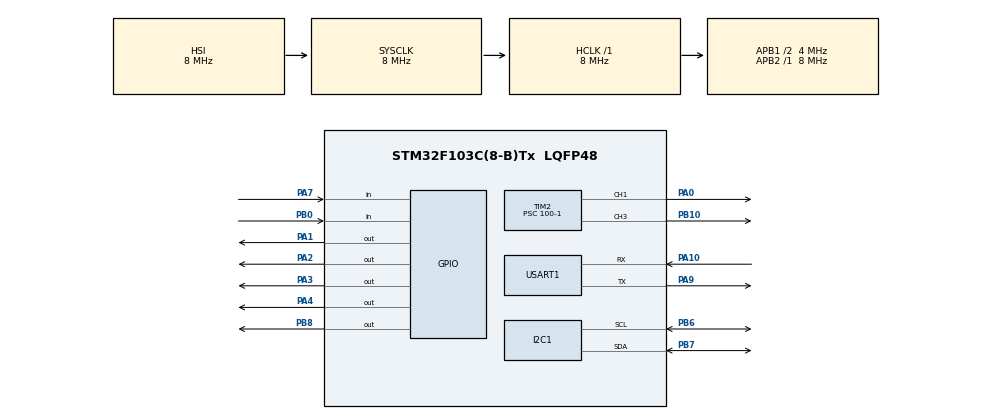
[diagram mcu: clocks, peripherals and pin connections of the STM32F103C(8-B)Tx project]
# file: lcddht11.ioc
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I2C1.I2C_Mode=I2C_Standard
I2C1.NoStretchMode=I2C_NOSTRETCH_DISABLE
Mcu.Family=STM32F1
Mcu.Name=STM32F103C(8-B)Tx
Mcu.Package=LQFP48
NVIC.PriorityGroup=NVIC_PRIORITYGROUP_4
NVIC.TIM3_IRQn=true\:0\:0\:false\:false\:true\:true\:true
NVIC.USART1_IRQn=true\:0\:0\:false\:false\:true\:true\:true
PA0-WKUP.Signal=S_TIM2_CH1_ETR
PA1.Signal=GPIO_Output
PA10.Mode=Asynchronous
PA10.Signal=USART1_RX
PA13.Mode=Serial_Wire
PA13.Signal=SYS_JTMS-SWDIO
PA14.Mode=Serial_Wire
PA14.Signal=SYS_JTCK-SWCLK
PA2.Signal=GPIO_Output
PA3.Signal=GPIO_Output
PA4.Signal=GPIO_Output
PA7.Signal=GPIO_Input
PA9.Mode=Asynchronous
PA9.Signal=USART1_TX
PB0.GPIO_PuPd=GPIO_PULLDOWN
PB0.Signal=GPIO_Input
PB10.Signal=S_TIM2_CH3
PB6.Mode=I2C
PB6.Signal=I2C1_SCL
PB7.Mode=I2C
PB7.Signal=I2C1_SDA
PB8.Signal=GPIO_Output
ProjectManager.HeapSize=0x200
ProjectManager.StackSize=0x400
ProjectManager.TargetToolchain=MDK-ARM V5
RCC.AHBFreq_Value=8000000
RCC.APB1CLKDivider=RCC_HCLK_DIV2
RCC.APB1Freq_Value=4000000
RCC.APB1TimFreq_Value=8000000
RCC.APB2Freq_Value=8000000
RCC.APB2TimFreq_Value=8000000
RCC.HCLKFreq_Value=8000000
RCC.PLLMUL=RCC_PLL_MUL9
RCC.SYSCLKFreq_VALUE=8000000
RCC.USBFreq_Value=36000000
SH.S_TIM2_CH1_ETR.0=TIM2_CH1,PWM Generation1 CH1
SH.S_TIM2_CH3.0=TIM2_CH3,PWM Generation3 CH3
TIM2.Channel-PWM\ Generation1\ CH1=TIM_CHANNEL_1
TIM2.Channel-PWM\ Generation3\ CH3=TIM_CHANNEL_3
TIM2.Period=1600-1
TIM2.Prescaler=100-1
TIM3.Period=999
TIM3.Prescaler=8000
USART1.VirtualMode=VM_ASYNC
VP_TIM3_VS_ClockSourceINT.Mode=Internal
board=custom

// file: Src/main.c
/* USER CODE BEGIN Header */
/**
  ******************************************************************************
  * @file           : main.c
  * @brief          : Main program body
  ******************************************************************************
  * @attention
  *
  * <h2><center>&copy; Copyright (c) 2019 STMicroelectronics.
  * All rights reserved.</center></h2>
  *
  * This software component is licensed by ST under BSD 3-Clause license,
  * the "License"; You may not use this file except in compliance with the
  * License. You may obtain a copy of the License at:
  *                        opensource.org/licenses/BSD-3-Clause
  *
  ******************************************************************************
  */
/* USER CODE END Header */
//PB6-SDA PB7-SCL
//led PK PB8
//led SAN PA4
//led PN PA1 , PT PA2
//DHT PA7

#include "main.h"

/* USER CODE BEGIN Includes */
#include "i2c-lcd.h"
#include "dwt_stm32_delay.h"
#include<string.h>
/* USER CODE END Includes */

I2C_HandleTypeDef hi2c1;

TIM_HandleTypeDef htim2;
TIM_HandleTypeDef htim3;

UART_HandleTypeDef huart1;

/* USER CODE BEGIN PV */
/* Private variables ---------------------------------------------------------*/
uint8_t s=0;;
uint8_t p=20;
uint8_t h=18;
char Rx_Data[2];
/* USER CODE END PV */

void SystemClock_Config(void);
static void MX_GPIO_Init(void);
static void MX_I2C1_Init(void);
static void MX_TIM3_Init(void);
static void MX_TIM2_Init(void);
static void MX_USART1_UART_Init(void);
/* USER CODE BEGIN PFP */
/* Private function prototypes -----------------------------------------------*/

/* USER CODE END PFP */

/* USER CODE BEGIN 0 */
uint8_t Rh_byte1, Rh_byte2, Temp_byte1, Temp_byte2;
uint16_t sum, RH, TEMP;

uint8_t check ;
GPIO_InitTypeDef GPIO_InitStruct;
void set_gpio_output (void)
{
	/*Configure GPIO pin output: PA2 */
  GPIO_InitStruct.Pin = GPIO_PIN_7;
  GPIO_InitStruct.Mode = GPIO_MODE_OUTPUT_PP;
  GPIO_InitStruct.Speed = GPIO_SPEED_FREQ_LOW;
  HAL_GPIO_Init(GPIOA, &GPIO_InitStruct);
}

void set_gpio_input (void)
{
	/*Configure GPIO pin input: PA2 */
  GPIO_InitStruct.Pin = GPIO_PIN_7;
  GPIO_InitStruct.Mode = GPIO_MODE_INPUT;
  GPIO_InitStruct.Pull = GPIO_NOPULL;
  HAL_GPIO_Init(GPIOA, &GPIO_InitStruct);
}

void DHT11_start (void)
{
	set_gpio_output ();  // set the pin as output
	HAL_GPIO_WritePin (GPIOA, GPIO_PIN_7, GPIO_PIN_RESET);   // pull the pin low
	DWT_Delay_us(18000);   // wait for 18ms
	set_gpio_input ();   // set as input
}

void check_response(void)
{
	DWT_Delay_us(40);
	if(!(HAL_GPIO_ReadPin(GPIOA, GPIO_PIN_7)))
	{
		DWT_Delay_us(80);
		if((HAL_GPIO_ReadPin(GPIOA, GPIO_PIN_7))) check = 1;
	}
	while((HAL_GPIO_ReadPin(GPIOA, GPIO_PIN_7)));   // wait for the pin to go low
}

uint8_t read_data (void)
{
	uint8_t i,j;
	for (j=0;j<8;j++)
	{
		while (!(HAL_GPIO_ReadPin (GPIOA, GPIO_PIN_7)));   // wait for the pin to go high
		DWT_Delay_us (40);   // wait for 40 us
		if ((HAL_GPIO_ReadPin (GPIOA, GPIO_PIN_7)) == 0)   // if the pin is low
		{
			i&= ~(1<<(7-j));   // write 0
		}
		else i|= (1<<(7-j));  // if the pin is high, write 1
		while ((HAL_GPIO_ReadPin (GPIOA, GPIO_PIN_7)));  // wait for the pin to go low
	}
	return i;
}
/* USER CODE END 0 */

void HAL_TIM_PeriodElapsedCallback(TIM_HandleTypeDef *htim)
{
	if(htim->Instance==TIM3)
	{

		if(HAL_GPIO_ReadPin(GPIOB,GPIO_PIN_0)==1)
		{
			HAL_GPIO_WritePin(GPIOB,GPIO_PIN_8,GPIO_PIN_SET);
		}
		else
		{
			HAL_GPIO_WritePin(GPIOB,GPIO_PIN_8,GPIO_PIN_RESET);
		}

		s++;
		if(s>60)
		{
			s=0;
			p++;
			if(p>60)
			{
				p=0;
				h++;
				if(h>24)
				{
					h=0;
				}
			}
		}
		if(h==18)
		{
			HAL_GPIO_WritePin(GPIOA,GPIO_PIN_4,GPIO_PIN_SET);
		}
		if(h==5)
		{
			HAL_GPIO_WritePin(GPIOA,GPIO_PIN_4,GPIO_PIN_RESET);
			}

	}

}
uint8_t Rx_index =0;
char Rx_Buffer[10];
void HAL_UART_RxCpltCallback(UART_HandleTypeDef *huart)
{

	uint8_t i;
	if(huart->Instance == USART1)
	{
		if(Rx_index==0){
		for(i=0;i<10;i++) Rx_Buffer[i]=0;}
		if(Rx_Data[0] !=13)
		{
			Rx_Buffer[Rx_index++]=Rx_Data[0];
		}
		else
		{
			if(strstr(Rx_Buffer,"NG0"))
			{
				HAL_GPIO_WritePin(GPIOA,GPIO_PIN_3,GPIO_PIN_SET);
				HAL_UART_Transmit(&huart1,(uint8_t *)Rx_Buffer,3,1000);

			}
			else
			if(strstr(Rx_Buffer,"NG1"))
			{
				HAL_GPIO_WritePin(GPIOA,GPIO_PIN_3,GPIO_PIN_RESET);
				HAL_UART_Transmit(&huart1,(uint8_t *)Rx_Buffer,3,1000);

			}else
			if(strstr(Rx_Buffer,"TA0"))
			{
				HAL_GPIO_WritePin(GPIOA,GPIO_PIN_1,GPIO_PIN_SET);
				HAL_UART_Transmit(&huart1,(uint8_t *)Rx_Buffer,3,1000);

			}else
			if(strstr(Rx_Buffer,"TA1"))
			{
				HAL_GPIO_WritePin(GPIOA,GPIO_PIN_1,GPIO_PIN_RESET);
				HAL_UART_Transmit(&huart1,(uint8_t *)Rx_Buffer,3,1000);

			}else
			if(strstr(Rx_Buffer,"SV0"))
			{

				htim2.Instance->CCR1 = 125;
				for(int sx=0;sx<10000;sx++)
				{
					for(int sy=0;sy<150;sy++);
					}
				htim2.Instance->CCR1 = 0;

				HAL_UART_Transmit(&huart1,(uint8_t *)Rx_Buffer,3,1000);

			}else
			if(strstr(Rx_Buffer,"SV1"))
			{

				htim2.Instance->CCR1 = 50;
				for(int sx=0;sx<10000;sx++)
				{
					for(int sy=0;sy<150;sy++);
					}
				htim2.Instance->CCR1 = 0;

				HAL_UART_Transmit(&huart1,(uint8_t *)Rx_Buffer,3,1000);

			}
			else
			if(strstr(Rx_Buffer,"DR0"))
			{

				htim2.Instance->CCR3 = 150;
				for(int sx=0;sx<10000;sx++)
				{
					for(int sy=0;sy<50;sy++);
					}
				htim2.Instance->CCR3 = 0;

				HAL_UART_Transmit(&huart1,(uint8_t *)Rx_Buffer,3,1000);

			}else
			if(strstr(Rx_Buffer,"DR1"))
			{

				htim2.Instance->CCR3 = 75;
				for(int sx=0;sx<10000;sx++)
				{
					for(int sy=0;sy<55;sy++);
					}
				htim2.Instance->CCR3 = 0;

				HAL_UART_Transmit(&huart1,(uint8_t *)Rx_Buffer,3,1000);

			}

			Rx_index=0;

		}
			HAL_UART_Receive_IT(&huart1,(uint8_t *)Rx_Data,1);

	}
}
int main(void)
{

  /* MCU Configuration--------------------------------------------------------*/

  /* Reset of all peripherals, Initializes the Flash interface and the Systick. */
  HAL_Init();

  /* Configure the system clock */
  SystemClock_Config();

  /* Initialize all configured peripherals */
  MX_GPIO_Init();
  MX_I2C1_Init();
  MX_TIM3_Init();
  MX_TIM2_Init();
  MX_USART1_UART_Init();
	HAL_UART_Receive_IT(&huart1,(uint8_t *)Rx_Data,1);
  /* USER CODE BEGIN 2 */
	HAL_TIM_PWM_Start(&htim2,TIM_CHANNEL_1);
	HAL_TIM_PWM_Start(&htim2,TIM_CHANNEL_3);
	DWT_Init();
	lcd_init();
	HAL_TIM_Base_Start_IT(&htim3);

  /* USER CODE END 2 */

  /* Infinite loop */
  while (1)
  {

		DHT11_start ();
		check_response ();
		Rh_byte1 = read_data ();
		Rh_byte2 = read_data ();
		Temp_byte1 = read_data ();
		Temp_byte2 = read_data ();
		sum = read_data();
		if (sum == (Rh_byte1+Rh_byte2+Temp_byte1+Temp_byte2))    // if the data is correct
		{
		lcd_send_cmd (0x80);
		lcd_send_string ("LKHANH99 ");

		lcd_send_cmd (0xC0);
		lcd_send_string ("TEMP: ");
		lcd_send_data ((Temp_byte1/10)+48);
		lcd_send_data ((Temp_byte1%10)+48);
		lcd_send_string (" oC");

		}
  }
}

void SystemClock_Config(void)
{
  RCC_OscInitTypeDef RCC_OscInitStruct = {0};
  RCC_ClkInitTypeDef RCC_ClkInitStruct = {0};

  /** Initializes the CPU, AHB and APB busses clocks
  */
  RCC_OscInitStruct.OscillatorType = RCC_OSCILLATORTYPE_HSI;
  RCC_OscInitStruct.HSIState = RCC_HSI_ON;
  RCC_OscInitStruct.HSICalibrationValue = RCC_HSICALIBRATION_DEFAULT;
  RCC_OscInitStruct.PLL.PLLState = RCC_PLL_NONE;
  if (HAL_RCC_OscConfig(&RCC_OscInitStruct) != HAL_OK)
  {
    Error_Handler();
  }
  /** Initializes the CPU, AHB and APB busses clocks
  */
  RCC_ClkInitStruct.ClockType = RCC_CLOCKTYPE_HCLK|RCC_CLOCKTYPE_SYSCLK
                              |RCC_CLOCKTYPE_PCLK1|RCC_CLOCKTYPE_PCLK2;
  RCC_ClkInitStruct.SYSCLKSource = RCC_SYSCLKSOURCE_HSI;
  RCC_ClkInitStruct.AHBCLKDivider = RCC_SYSCLK_DIV1;
  RCC_ClkInitStruct.APB1CLKDivider = RCC_HCLK_DIV2;
  RCC_ClkInitStruct.APB2CLKDivider = RCC_HCLK_DIV1;

  if (HAL_RCC_ClockConfig(&RCC_ClkInitStruct, FLASH_LATENCY_0) != HAL_OK)
  {
    Error_Handler();
  }
}

static void MX_I2C1_Init(void)
{

  hi2c1.Instance = I2C1;
  hi2c1.Init.ClockSpeed = 100000;
  hi2c1.Init.DutyCycle = I2C_DUTYCYCLE_2;
  hi2c1.Init.OwnAddress1 = 0;
  hi2c1.Init.AddressingMode = I2C_ADDRESSINGMODE_7BIT;
  hi2c1.Init.DualAddressMode = I2C_DUALADDRESS_DISABLE;
  hi2c1.Init.OwnAddress2 = 0;
  hi2c1.Init.GeneralCallMode = I2C_GENERALCALL_DISABLE;
  hi2c1.Init.NoStretchMode = I2C_NOSTRETCH_DISABLE;
  if (HAL_I2C_Init(&hi2c1) != HAL_OK)
  {
    Error_Handler();
  }

}

static void MX_TIM2_Init(void)
{

  TIM_MasterConfigTypeDef sMasterConfig = {0};
  TIM_OC_InitTypeDef sConfigOC = {0};

  htim2.Instance = TIM2;
  htim2.Init.Prescaler = 100-1;
  htim2.Init.CounterMode = TIM_COUNTERMODE_UP;
  htim2.Init.Period = 1600-1;
  htim2.Init.ClockDivision = TIM_CLOCKDIVISION_DIV1;
  htim2.Init.AutoReloadPreload = TIM_AUTORELOAD_PRELOAD_DISABLE;
  if (HAL_TIM_PWM_Init(&htim2) != HAL_OK)
  {
    Error_Handler();
  }
  sMasterConfig.MasterOutputTrigger = TIM_TRGO_RESET;
  sMasterConfig.MasterSlaveMode = TIM_MASTERSLAVEMODE_DISABLE;
  if (HAL_TIMEx_MasterConfigSynchronization(&htim2, &sMasterConfig) != HAL_OK)
  {
    Error_Handler();
  }
  sConfigOC.OCMode = TIM_OCMODE_PWM1;
  sConfigOC.Pulse = 0;
  sConfigOC.OCPolarity = TIM_OCPOLARITY_HIGH;
  sConfigOC.OCFastMode = TIM_OCFAST_DISABLE;
  if (HAL_TIM_PWM_ConfigChannel(&htim2, &sConfigOC, TIM_CHANNEL_1) != HAL_OK)
  {
    Error_Handler();
  }
  if (HAL_TIM_PWM_ConfigChannel(&htim2, &sConfigOC, TIM_CHANNEL_3) != HAL_OK)
  {
    Error_Handler();
  }
  HAL_TIM_MspPostInit(&htim2);

}

static void MX_TIM3_Init(void)
{

  TIM_ClockConfigTypeDef sClockSourceConfig = {0};
  TIM_MasterConfigTypeDef sMasterConfig = {0};

  htim3.Instance = TIM3;
  htim3.Init.Prescaler = 8000;
  htim3.Init.CounterMode = TIM_COUNTERMODE_UP;
  htim3.Init.Period = 999;
  htim3.Init.ClockDivision = TIM_CLOCKDIVISION_DIV1;
  htim3.Init.AutoReloadPreload = TIM_AUTORELOAD_PRELOAD_DISABLE;
  if (HAL_TIM_Base_Init(&htim3) != HAL_OK)
  {
    Error_Handler();
  }
  sClockSourceConfig.ClockSource = TIM_CLOCKSOURCE_INTERNAL;
  if (HAL_TIM_ConfigClockSource(&htim3, &sClockSourceConfig) != HAL_OK)
  {
    Error_Handler();
  }
  sMasterConfig.MasterOutputTrigger = TIM_TRGO_RESET;
  sMasterConfig.MasterSlaveMode = TIM_MASTERSLAVEMODE_DISABLE;
  if (HAL_TIMEx_MasterConfigSynchronization(&htim3, &sMasterConfig) != HAL_OK)
  {
    Error_Handler();
  }

}

static void MX_USART1_UART_Init(void)
{

  huart1.Instance = USART1;
  huart1.Init.BaudRate = 115200;
  huart1.Init.WordLength = UART_WORDLENGTH_8B;
  huart1.Init.StopBits = UART_STOPBITS_1;
  huart1.Init.Parity = UART_PARITY_NONE;
  huart1.Init.Mode = UART_MODE_TX_RX;
  huart1.Init.HwFlowCtl = UART_HWCONTROL_NONE;
  huart1.Init.OverSampling = UART_OVERSAMPLING_16;
  if (HAL_UART_Init(&huart1) != HAL_OK)
  {
    Error_Handler();
  }

}

static void MX_GPIO_Init(void)
{
  GPIO_InitTypeDef GPIO_InitStruct = {0};

  /* GPIO Ports Clock Enable */
  __HAL_RCC_GPIOA_CLK_ENABLE();
  __HAL_RCC_GPIOB_CLK_ENABLE();

  /*Configure GPIO pin Output Level */
  HAL_GPIO_WritePin(GPIOA, GPIO_PIN_1|GPIO_PIN_2|GPIO_PIN_3|GPIO_PIN_4, GPIO_PIN_RESET);

  /*Configure GPIO pin Output Level */
  HAL_GPIO_WritePin(GPIOB, GPIO_PIN_8, GPIO_PIN_RESET);

  /*Configure GPIO pins : PA1 PA2 PA3 PA4 */
  GPIO_InitStruct.Pin = GPIO_PIN_1|GPIO_PIN_2|GPIO_PIN_3|GPIO_PIN_4;
  GPIO_InitStruct.Mode = GPIO_MODE_OUTPUT_PP;
  GPIO_InitStruct.Pull = GPIO_NOPULL;
  GPIO_InitStruct.Speed = GPIO_SPEED_FREQ_LOW;
  HAL_GPIO_Init(GPIOA, &GPIO_InitStruct);

  /*Configure GPIO pin : PA7 */
  GPIO_InitStruct.Pin = GPIO_PIN_7;
  GPIO_InitStruct.Mode = GPIO_MODE_INPUT;
  GPIO_InitStruct.Pull = GPIO_NOPULL;
  HAL_GPIO_Init(GPIOA, &GPIO_InitStruct);

  /*Configure GPIO pin : PB0 */
  GPIO_InitStruct.Pin = GPIO_PIN_0;
  GPIO_InitStruct.Mode = GPIO_MODE_INPUT;
  GPIO_InitStruct.Pull = GPIO_PULLDOWN;
  HAL_GPIO_Init(GPIOB, &GPIO_InitStruct);

  /*Configure GPIO pin : PB8 */
  GPIO_InitStruct.Pin = GPIO_PIN_8;
  GPIO_InitStruct.Mode = GPIO_MODE_OUTPUT_PP;
  GPIO_InitStruct.Pull = GPIO_NOPULL;
  GPIO_InitStruct.Speed = GPIO_SPEED_FREQ_LOW;
  HAL_GPIO_Init(GPIOB, &GPIO_InitStruct);

}

void Error_Handler(void)
{
}

/************************ (C) COPYRIGHT STMicroelectronics *****END OF FILE****/
